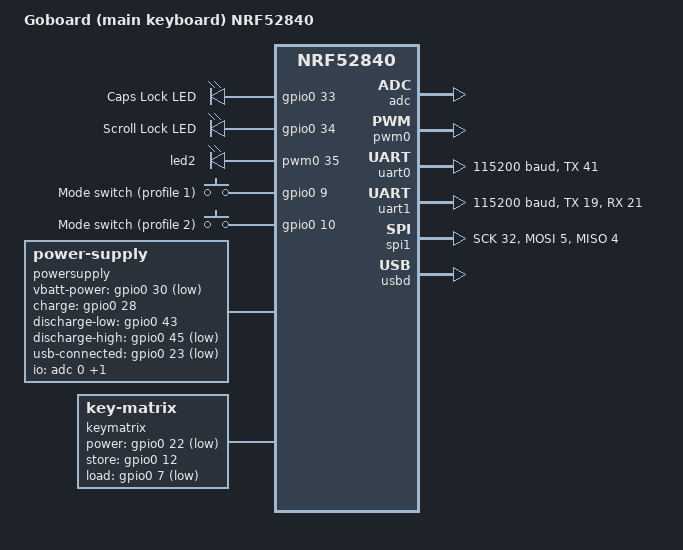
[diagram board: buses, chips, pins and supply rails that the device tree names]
/*
 * Copyright (c) 2017 Linaro Limited
 *
 * SPDX-License-Identifier: Apache-2.0
 */

/dts-v1/;
#include <nordic/nrf52840_qiaa.dtsi>

/ {
	model = "Goboard (main keyboard) NRF52840";
	compatible = "nordic,goboard-main-nrf52840";

	chosen {
		zephyr,console = &uart0;
		zephyr,shell-uart = &uart0;
		zephyr,sram = &sram0;
		zephyr,flash = &flash0;
		zephyr,code-partition = &slot0_partition;
	};

	aliases {
		caps-lock-led = &led0;
		scroll-lock-led = &led1;
		mode-pwm-led = &led2;
		modesw0 = &button0;
		modesw1 = &button1;
	};


	leds {
		compatible = "gpio-leds";
		led0: led_0 {
			gpios = <&gpio0 33 0>;
			label = "Caps Lock LED";
		};
		led1: led_1 {
			gpios = <&gpio0 34 0>;
			label = "Scroll Lock LED";
		};
	};

	pwmleds {
		compatible = "pwm-leds";
		led2: pwm_led_0 {
			pwms = <&pwm0 35>;
		};
	};

	buttons {
		compatible = "gpio-keys";
		button0: button_0 {
			gpios = <&gpio0 9 0>;
			label = "Mode switch (profile 1)";
		};
		button1: button_1 {
			gpios = <&gpio0 10 0>;
			label = "Mode switch (profile 2)";
		};
	};

	powersupply {
		compatible = "power-supply";
		io-channels = <&adc 0>, <&adc 7>;
		vbatt-output-ohms = <100000>;
		vbatt-full-ohms = <(100000 + 100000)>;
		vbatt-power-gpios = <&gpio0 30 GPIO_ACTIVE_LOW>;
		charge-gpios = <&gpio0 28 0>;
		discharge-low-gpios = <&gpio0 43 0>;
		discharge-high-gpios = <&gpio0 45 GPIO_ACTIVE_LOW>;
		usb-connected-gpios = <&gpio0 23 GPIO_ACTIVE_LOW>;
	};

	keymatrix {
		compatible = "key-matrix";
		spi = <&spi1>;
		power-gpios = <&gpio0 22 GPIO_ACTIVE_LOW>;
		store-gpios = <&gpio0 12 0>;
		load-gpios = <&gpio0 7 GPIO_ACTIVE_LOW>;
	};
};

&adc {
	status = "okay";
};

&gpiote {
	status = "okay";
};

&gpio0 {
	status = "okay";
};

&gpio1 {
	status = "okay";
};

&pwm0 {
	status = "okay";
	ch0-pin = <35>;
};

&uart0 {
	compatible = "nordic,nrf-uart";
	current-speed = <115200>;
	status = "okay";
	tx-pin = <41>;
};

&uart1 {
	compatible = "nordic,nrf-uart";
	current-speed = <115200>;
	status = "okay";
	tx-pin = <19>;
	rx-pin = <21>;
};

&spi1 {
	compatible = "nordic,nrf-spi";
	status = "okay";
	sck-pin = <32>;
	mosi-pin = <5>;
	miso-pin = <4>;
};

&flash0 {

	partitions {
		compatible = "fixed-partitions";
		#address-cells = <1>;
		#size-cells = <1>;

		boot_partition: partition@0 {
			label = "mcuboot";
			reg = <0x000000000 0x0000C000>;
		};
		slot0_partition: partition@c000 {
			label = "image-0";
			reg = <0x0000C000 0x00067000>;
		};
		slot1_partition: partition@73000 {
			label = "image-1";
			reg = <0x00073000 0x00067000>;
		};
		scratch_partition: partition@da000 {
			label = "image-scratch";
			reg = <0x000da000 0x0001e000>;
		};

		/*
		 * The flash starting at 0x000f8000 and ending at
		 * 0x000fffff is reserved for use by the application.
		 */

		/*
		 * Storage partition will be used by FCB/LittleFS/NVS
		 * if enabled.
		 */
		storage_partition: partition@f8000 {
			label = "storage";
			reg = <0x000f8000 0x00008000>;
		};
	};
};

&usbd {
	compatible = "nordic,nrf-usbd";
	status = "okay";
};

